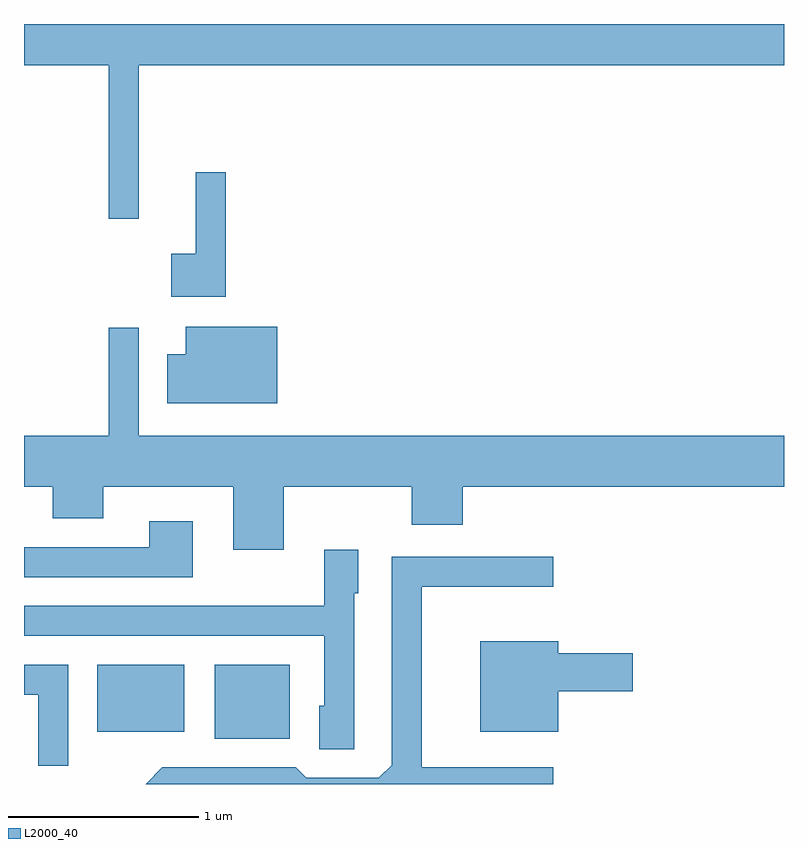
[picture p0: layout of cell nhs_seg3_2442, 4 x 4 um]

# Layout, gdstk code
import gdstk
lib = gdstk.Library(unit=1e-6, precision=1e-09)
def R(c, l, rs):  # rectangles x0, y0, x1, y1
    for r in rs: c.add(gdstk.rectangle(r[:2], r[2:], *l))
def P(c, l, *ps):  # polygons
    for p in ps: c.add(gdstk.Polygon(p, *l))
L2000_40 = (2000, 40)

nhs_seg3_2442 = lib.new_cell('nhs_seg3_2442')
R(nhs_seg3_2442, L2000_40, [(256.616,1240.131,257.009,1240.519), (255.996,1240.166,256.454,1240.519)])
P(nhs_seg3_2442, L2000_40, [(256.214,1243.676),(259.611,1243.676),(259.611,1243.892),(255.611,1243.892),(255.611,1243.676),(256.056,1243.676),(256.056,1242.868),(256.214,1242.868)],
  [(256.674,1243.113),(256.516,1243.113),(256.516,1242.684),(256.386,1242.684),(256.386,1242.456),(256.674,1242.456)],
  [(256.944,1242.299),(256.461,1242.299),(256.461,1242.154),(256.366,1242.154),(256.366,1241.896),(256.944,1241.896)],
  [(256.979,1241.456),(257.651,1241.456),(257.651,1241.256),(257.919,1241.256),(257.919,1241.456),(259.611,1241.456),(259.611,1241.724),(256.214,1241.724),(256.214,1242.293),(256.056,1242.293),(256.056,1241.724),(255.611,1241.724),(255.611,1241.456),(255.761,1241.456),(255.761,1241.291),(256.029,1241.291),(256.029,1241.456),(256.711,1241.456),(256.711,1241.126),(256.979,1241.126)],
  [(256.499,1241.274),(256.271,1241.274),(256.271,1241.139),(255.611,1241.139),(255.611,1240.981),(256.499,1240.981)],
  [(257.349,1240.896),(257.369,1240.896),(257.369,1241.124),(257.191,1241.124),(257.191,1240.829),(255.611,1240.829),(255.611,1240.671),(257.191,1240.671),(257.191,1240.304),(257.166,1240.304),(257.166,1240.076),(257.349,1240.076)],
  [(258.397,1239.979),(257.704,1239.979),(257.704,1240.931),(258.397,1240.931),(258.397,1241.089),(257.546,1241.089),(257.546,1239.992),(257.479,1239.924),(257.097,1239.924),(257.041,1239.979),(256.339,1239.979),(256.252,1239.892),(258.397,1239.892)],
  [(258.424,1240.381),(258.814,1240.381),(258.814,1240.579),(258.424,1240.579),(258.424,1240.644),(258.011,1240.644),(258.011,1240.166),(258.424,1240.166)],
  [(255.844,1240.519),(255.611,1240.519),(255.611,1240.361),(255.686,1240.361),(255.686,1239.988),(255.844,1239.988)])

lib.write_gds('nhs_seg3_2442.gds')
